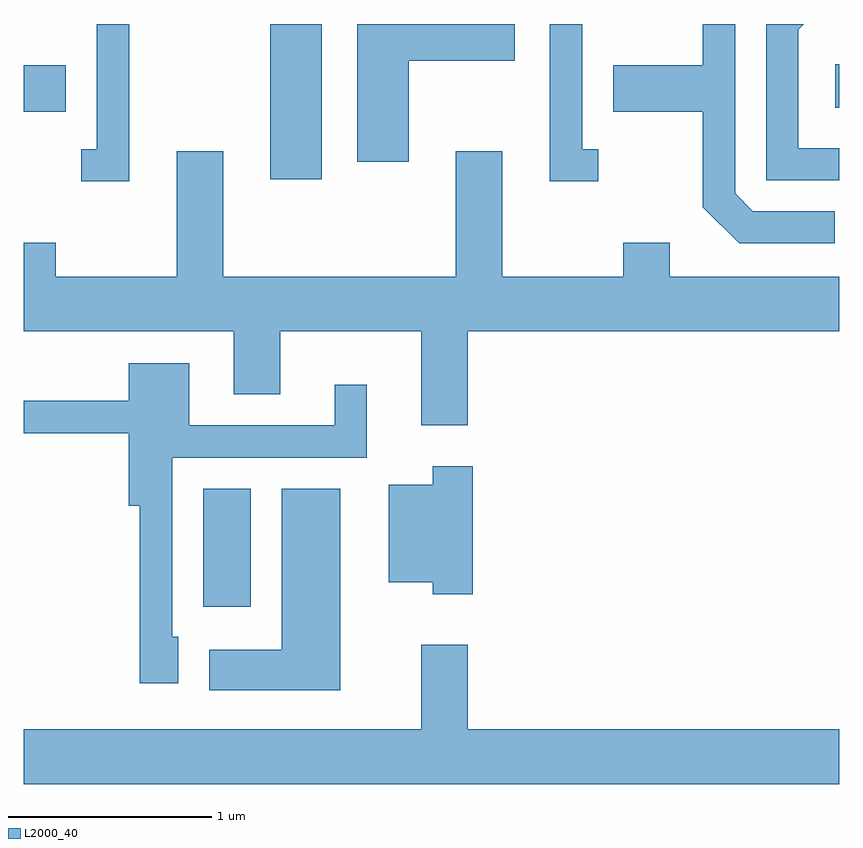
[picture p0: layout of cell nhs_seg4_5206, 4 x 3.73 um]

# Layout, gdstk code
import gdstk
lib = gdstk.Library(unit=1e-6, precision=1e-09)
def R(c, l, rs):  # rectangles x0, y0, x1, y1
    for r in rs: c.add(gdstk.rectangle(r[:2], r[2:], *l))
def P(c, l, *ps):  # polygons
    for p in ps: c.add(gdstk.Polygon(p, *l))
L2000_40 = (2000, 40)

nhs_seg4_5206 = lib.new_cell('nhs_seg4_5206')
R(nhs_seg4_5206, L2000_40, [(338.491,1331.126,338.724,1331.704), (338.821,1333.221,339.074,1333.982), (337.611,1333.551,337.819,1333.779), (341.591,1333.571,341.611,1333.784)])
P(nhs_seg4_5206, L2000_40, [(341.611,1333.374),(341.409,1333.374),(341.409,1333.954),(341.437,1333.982),(341.251,1333.982),(341.251,1333.216),(341.611,1333.216)],
  [(338.129,1333.982),(337.971,1333.982),(337.971,1333.369),(337.893,1333.369),(337.893,1333.211),(338.129,1333.211)],
  [(340.428,1333.369),(340.349,1333.369),(340.349,1333.982),(340.191,1333.982),(340.191,1333.211),(340.428,1333.211)],
  [(339.499,1333.801),(340.019,1333.801),(340.019,1333.982),(339.246,1333.982),(339.246,1333.306),(339.499,1333.306)],
  [(341.588,1333.064),(341.187,1333.064),(341.099,1333.152),(341.099,1333.982),(340.941,1333.982),(340.941,1333.779),(340.501,1333.779),(340.501,1333.551),(340.941,1333.551),(340.941,1333.084),(341.119,1332.906),(341.588,1332.906)],
  [(339.789,1332.476),(341.611,1332.476),(341.611,1332.744),(340.779,1332.744),(340.779,1332.909),(340.551,1332.909),(340.551,1332.744),(339.959,1332.744),(339.959,1333.359),(339.731,1333.359),(339.731,1332.744),(338.589,1332.744),(338.589,1333.359),(338.361,1333.359),(338.361,1332.744),(337.769,1332.744),(337.769,1332.909),(337.611,1332.909),(337.611,1332.476),(338.641,1332.476),(338.641,1332.166),(338.869,1332.166),(338.869,1332.476),(339.561,1332.476),(339.561,1332.016),(339.789,1332.016)],
  [(338.369,1330.979),(338.339,1330.979),(338.339,1331.856),(339.294,1331.856),(339.294,1332.213),(339.136,1332.213),(339.136,1332.014),(338.424,1332.014),(338.424,1332.319),(338.126,1332.319),(338.126,1332.134),(337.611,1332.134),(337.611,1331.976),(338.126,1331.976),(338.126,1331.621),(338.181,1331.621),(338.181,1330.751),(338.369,1330.751)],
  [(339.814,1331.814),(339.616,1331.814),(339.616,1331.724),(339.401,1331.724),(339.401,1331.246),(339.616,1331.246),(339.616,1331.186),(339.814,1331.186)],
  [(339.164,1331.704),(338.876,1331.704),(338.876,1330.914),(338.521,1330.914),(338.521,1330.716),(339.164,1330.716)],
  [(339.561,1330.939),(339.561,1330.524),(337.611,1330.524),(337.611,1330.256),(341.611,1330.256),(341.611,1330.524),(339.789,1330.524),(339.789,1330.939)])

lib.write_gds('nhs_seg4_5206.gds')
